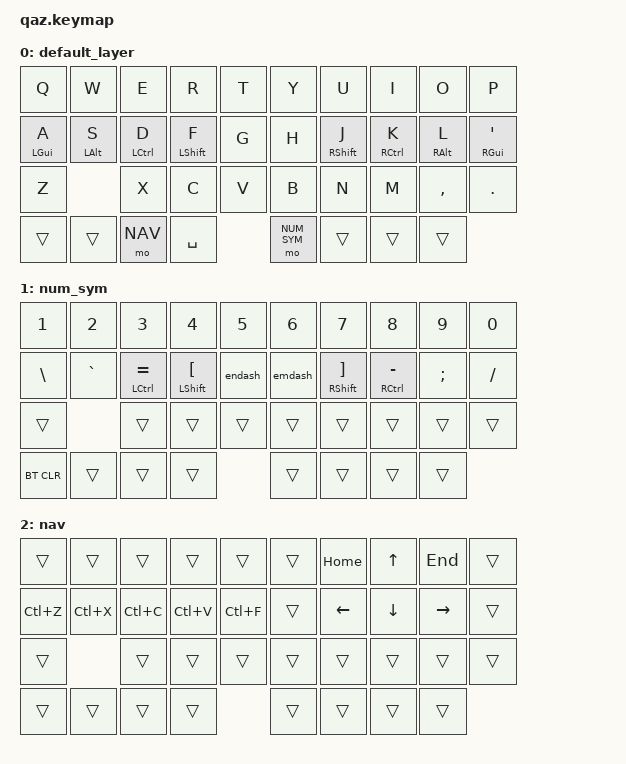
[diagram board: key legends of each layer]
/*
 * Copyright (c) 2020 The ZMK Contributors
 *
 * SPDX-License-Identifier: MIT
 */

#include <behaviors.dtsi>
#include <dt-bindings/zmk/keys.h>
#include <dt-bindings/zmk/bt.h>

#define DEFAULT 0
#define NUM_SYM 1
#define NAV     2

/ {
    combos {
        compatible = "zmk,combos";
        combo_esc {
            timeout-ms = <30>;
            key-positions = <0 1>;
            bindings = <&kp ESC>;
        };
        combo_tab {
            timeout-ms = <30>;
            key-positions = <11 12>;
            bindings = <&kp TAB>;
        };
        combo_del {
            timeout-ms = <30>;
            key-positions = <16 17>;
            bindings = <&kp DEL>;
        };
        combo_bksp {
            timeout-ms = <30>;
            key-positions = <17 18>;
            bindings = <&kp BSPC>;
        };
        combo_cbksp {
            timeout-ms = <30>;
            key-positions = <16 17 18>;
            bindings = <&kp LC(BSPC)>;
        };
        combo_enter {
            timeout-ms = <30>;
            key-positions = <18 19>;
            bindings = <&kp ENTER>;
        };
        combo_bootloader {
            timeout-ms = <30>;
            key-positions = <0 10 20>;
            bindings = <&bootloader>;
        };
    };
};

/ {
    macros {
        emdash: emdash {
            label = "emdash";
            compatible = "zmk,behavior-macro";
            #binding-cells = <0>;
            bindings
                = <&macro_press &kp LALT>
                , <&macro_tap &kp KP_N0 &kp KP_N1 &kp KP_N5 &kp KP_N1>
                , <&macro_release &kp LALT>
                ;
        };
        endash: endash {
            label = "endash";
            compatible = "zmk,behavior-macro";
            #binding-cells = <0>;
            bindings
                = <&macro_press &kp LALT>
                , <&macro_tap &kp KP_N0 &kp KP_N1 &kp KP_N5 &kp KP_N0>
                , <&macro_release &kp LALT>
                ;
        };
    };
};

/ {
    behaviors {
        hm: homerow_mods {
            compatible = "zmk,behavior-hold-tap";
            label = "homerow mods";
            #binding-cells = <2>;
            tapping-term-ms = <200>;
            flavor = "tap-preferred";
            bindings = <&kp>, <&kp>;
        };
    };
};

/ {
    keymap {
        compatible = "zmk,keymap";

        default_layer {
            bindings = <
    &kp Q      &kp W      &kp E       &kp R       &kp T  &kp Y  &kp U       &kp I       &kp O      &kp P
    &hm LGUI A &hm LALT S &hm LCTRL D &hm LSHFT F &kp G  &kp H  &hm RSHFT J &hm RCTRL K &hm RALT L &hm RGUI APOS
    &kp Z                 &kp X       &kp C       &kp V  &kp B  &kp N       &kp M       &kp COMMA  &kp DOT
    &trans  &trans   &mo NAV       &kp SPACE    &mo NUM_SYM   &trans   &trans    &trans
            >;
        };
        num_sym {
            bindings = <
    &kp N1  &kp N2  &kp N3  &kp N4  &kp N5  &kp N6  &kp N7  &kp N8  &kp N9  &kp N0
    &kp BSLH  &kp GRAVE  &hm LCTRL EQUAL &hm LSHFT LBKT &endash  &emdash  &hm RSHFT RBKT &hm RCTRL MINUS  &kp SEMI  &kp FSLH
    &trans  &trans  &trans  &trans  &trans  &trans  &trans  &trans  &trans
    &bt BT_CLR &trans   &trans  &trans  &trans  &trans  &trans  &trans
            >;
        };

        nav {
            bindings = <
    &trans  &trans  &trans  &trans  &trans  &trans  &kp HOME  &kp UP  &kp END  &trans
    &kp LC(Z)  &kp LC(X)  &kp LC(C)  &kp LC(V)  &kp LC(F)  &trans  &kp LEFT  &kp DOWN  &kp RIGHT  &trans
    &trans  &trans  &trans  &trans  &trans  &trans  &trans  &trans  &trans 
    &trans  &trans  &trans  &trans  &trans  &trans  &trans  &trans
            >;
        };
    };
};
